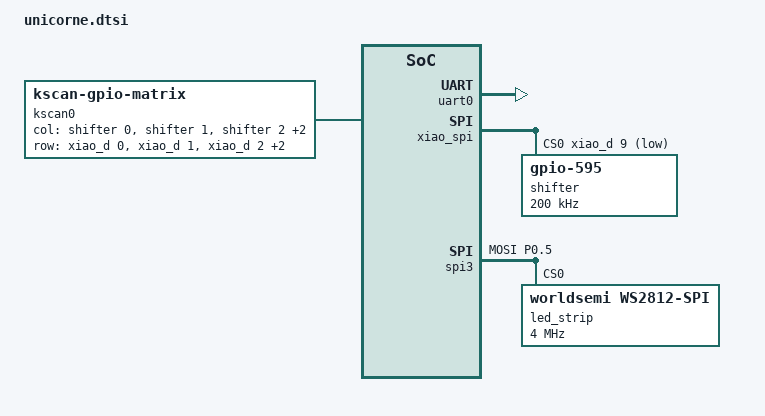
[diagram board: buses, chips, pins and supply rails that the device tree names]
#include <dt-bindings/led/led.h>

&xiao_serial {
    status = "disabled";
};

&uart0 {
    status = "okay";
};

&spi2_default {
    group1 {
        psels = <NRF_PSEL(SPIM_SCK,  1, 13)>, <NRF_PSEL(SPIM_MOSI, 1, 15)>;
    };
};

&spi2_sleep {
    group1 {
        psels = <NRF_PSEL(SPIM_SCK,  1, 13)>, <NRF_PSEL(SPIM_MOSI, 1, 15)>;
    };
};

&xiao_spi {
    status = "okay";
    cs-gpios = <&xiao_d 9 GPIO_ACTIVE_LOW>;
    shifter: 595@0 {
        compatible = "zmk,gpio-595";
        status = "okay";
        gpio-controller;
        spi-max-frequency = <200000>;
        reg = <0>;
        #gpio-cells = <2>;
        ngpios = <8>;
    };
};

&pinctrl {
    spi3_default: spi3_default {
        group1 {
            psels = <NRF_PSEL(SPIM_MOSI, 0, 5)>;
        };
    };

    spi3_sleep: spi3_sleep {
        group1 {
            psels = <NRF_PSEL(SPIM_MOSI, 0, 5)>;
            low-power-enable;
        };
    };
};

&spi3 {
    compatible = "nordic,nrf-spim";
    status = "okay";

    pinctrl-0 = <&spi3_default>;
    pinctrl-1 = <&spi3_sleep>;
    pinctrl-names = "default", "sleep";

    led_strip: ws2812@0 {
        compatible = "worldsemi,ws2812-spi";

        /* SPI */
        reg = <0>; /* ignored, but necessary for SPI bindings */
        spi-max-frequency = <4000000>;

        /* WS2812 */
        chain-length = <11>; /* number of LEDs */
        spi-one-frame = <0x70>;
        spi-zero-frame = <0x40>;
        color-mapping = <LED_COLOR_ID_GREEN
                         LED_COLOR_ID_RED
                         LED_COLOR_ID_BLUE
        >;
    };
};

/ {
    chosen {
        zmk,underglow = &led_strip;
        zmk,studio-rpc-uart = &uart0;
    };

    kscan0: kscan_0 {
        compatible = "zmk,kscan-gpio-matrix";
        diode-direction = "col2row";
        wakeup-source;

        col-gpios = <&shifter 0 GPIO_ACTIVE_HIGH>,
                    <&shifter 1 GPIO_ACTIVE_HIGH>,
                    <&shifter 2 GPIO_ACTIVE_HIGH>,
                    <&shifter 3 GPIO_ACTIVE_HIGH>,
                    <&shifter 4 GPIO_ACTIVE_HIGH>;

        row-gpios = <&xiao_d 0 (GPIO_ACTIVE_HIGH | GPIO_PULL_DOWN)>,
                    <&xiao_d 1 (GPIO_ACTIVE_HIGH | GPIO_PULL_DOWN)>,
                    <&xiao_d 2 (GPIO_ACTIVE_HIGH | GPIO_PULL_DOWN)>,
                    <&xiao_d 3 (GPIO_ACTIVE_HIGH | GPIO_PULL_DOWN)>,
                    <&xiao_d 4 (GPIO_ACTIVE_HIGH | GPIO_PULL_DOWN)>;
    };
};
